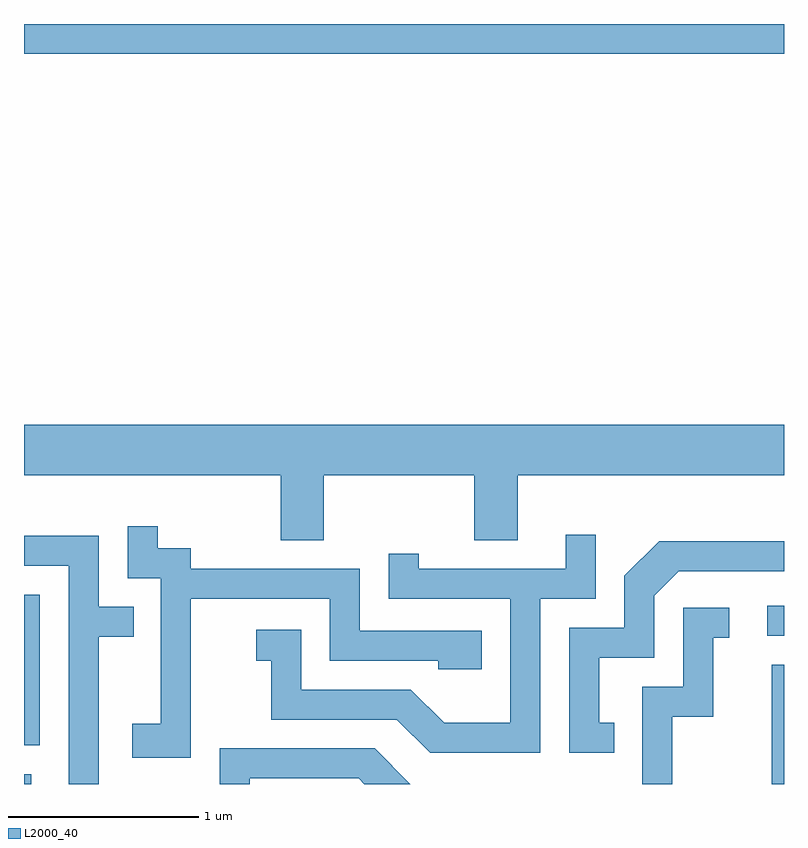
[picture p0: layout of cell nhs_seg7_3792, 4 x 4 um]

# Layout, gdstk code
import gdstk
lib = gdstk.Library(unit=1e-6, precision=1e-09)
def R(c, l, rs):  # rectangles x0, y0, x1, y1
    for r in rs: c.add(gdstk.rectangle(r[:2], r[2:], *l))
def P(c, l, *ps):  # polygons
    for p in ps: c.add(gdstk.Polygon(p, *l))
L2000_40 = (2000, 40)

nhs_seg7_3792 = lib.new_cell('nhs_seg7_3792')
R(nhs_seg7_3792, L2000_40, [(301.611,1708.252,301.649,1708.304), (305.546,1708.252,305.611,1708.879), (301.611,1708.456,301.694,1709.249), (305.523,1709.031,305.611,1709.189), (301.611,1712.096,305.611,1712.252)])
P(nhs_seg7_3792, L2000_40, [(303.189,1709.876),(303.981,1709.876),(303.981,1709.536),(304.209,1709.536),(304.209,1709.876),(305.611,1709.876),(305.611,1710.144),(301.611,1710.144),(301.611,1709.876),(302.961,1709.876),(302.961,1709.536),(303.189,1709.536)],
  [(302.489,1709.226),(303.221,1709.226),(303.221,1708.901),(303.791,1708.901),(303.791,1708.856),(304.019,1708.856),(304.019,1709.059),(303.379,1709.059),(303.379,1709.384),(302.489,1709.384),(302.489,1709.494),(302.314,1709.494),(302.314,1709.608),(302.156,1709.608),(302.156,1709.336),(302.331,1709.336),(302.331,1708.569),(302.181,1708.569),(302.181,1708.391),(302.489,1708.391)],
  [(304.329,1709.226),(304.619,1709.226),(304.619,1709.563),(304.461,1709.563),(304.461,1709.384),(303.689,1709.384),(303.689,1709.463),(303.531,1709.463),(303.531,1709.226),(304.171,1709.226),(304.171,1708.574),(303.822,1708.574),(303.647,1708.749),(303.069,1708.749),(303.069,1709.064),(302.833,1709.064),(302.833,1708.901),(302.911,1708.901),(302.911,1708.591),(303.574,1708.591),(303.749,1708.416),(304.329,1708.416)],
  [(302.004,1709.026),(302.188,1709.026),(302.188,1709.184),(302.004,1709.184),(302.004,1709.559),(301.611,1709.559),(301.611,1709.401),(301.846,1709.401),(301.846,1708.252),(302.004,1708.252)],
  [(304.718,1708.574),(304.639,1708.574),(304.639,1708.916),(304.929,1708.916),(304.929,1709.244),(305.057,1709.371),(305.611,1709.371),(305.611,1709.529),(304.954,1709.529),(304.771,1709.347),(304.771,1709.074),(304.481,1709.074),(304.481,1708.416),(304.718,1708.416)],
  [(305.024,1708.606),(305.239,1708.606),(305.239,1709.021),(305.323,1709.021),(305.323,1709.179),(305.081,1709.179),(305.081,1708.764),(304.866,1708.764),(304.866,1708.252),(305.024,1708.252)],
  [(302.799,1708.281),(303.374,1708.281),(303.403,1708.252),(303.644,1708.252),(303.457,1708.439),(302.641,1708.439),(302.641,1708.252),(302.799,1708.252)])

lib.write_gds('nhs_seg7_3792.gds')
